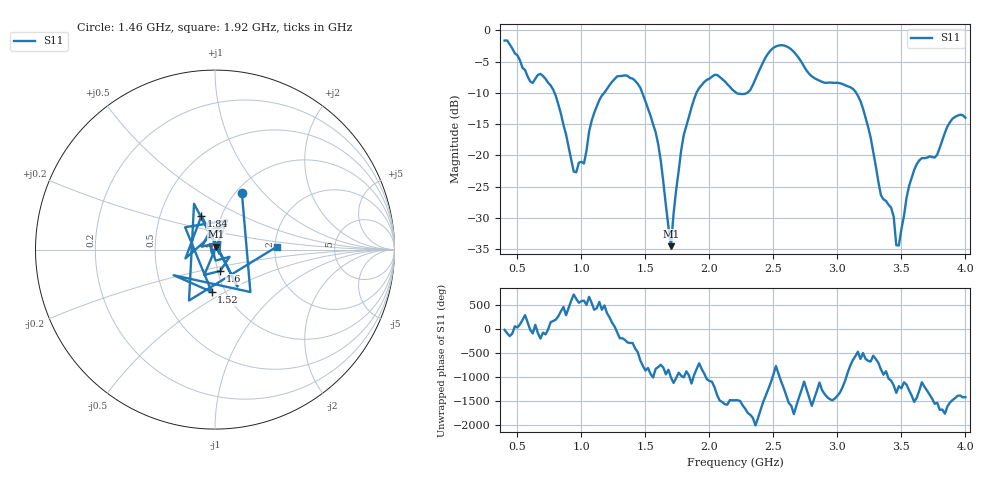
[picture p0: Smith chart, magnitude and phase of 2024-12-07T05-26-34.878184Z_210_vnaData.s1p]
!Created with skrf (http://scikit-rf.org).
# Hz S RI R 50.0
!freq ReS11 ImS11
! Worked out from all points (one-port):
!   181 points, 400 MHz to 4 GHz, reference 50 ohm
!   lowest |S11| = -34.5 dB at 1.7 GHz (marker M1), VSWR 1.04, Z = 50.7 + j1.74 ohm
!   |S11| at or under -10 dB: 789.8 MHz to 1.179 GHz (389 MHz wide, 39.5 % of centre); 1.476 GHz to 1.899 GHz (423.3 MHz wide, 25.1 % of centre); 3.146 GHz to end of sweep (the widest 3 of 4)
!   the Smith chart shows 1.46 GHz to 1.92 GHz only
!   S11 on the Smith chart (normalised r, x): 1.46 GHz: 1.07, +0.76; 1.52 GHz: 0.86, -0.43; 1.6 GHz: 1.03, -0.25; 1.84 GHz: 0.80, +0.32; 1.92 GHz: 2.05, +0.08
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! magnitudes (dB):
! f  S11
! 400 MHz  -1.6
! 600 MHz  -8.2
! 760 MHz  -8.8
! 860 MHz  -15.1
! 960 MHz  -22.7
! 1.02 GHz  -21.3
! 1.14 GHz  -11.2
! 1.3 GHz  -7.3
! 1.46 GHz  -9.2
! 1.52 GHz  -12.5
! 1.6 GHz  -18.2
! 1.7 GHz  -34.5
! 1.76 GHz  -22.5
! 1.84 GHz  -13.9
! 1.92 GHz  -9.2
! 2.06 GHz  -7.1
! 2.2 GHz  -9.8
! 2.32 GHz  -9.5
! 2.5 GHz  -2.8
! 2.66 GHz  -3.5
! 3.1 GHz  -9.1
! 3.2 GHz  -12.5
! 3.34 GHz  -26.4
! 3.44 GHz  -29.8
! 3.46 GHz  -34.4
! 3.56 GHz  -24.9
! 3.9 GHz  -14.1
! 4 GHz  -14.0
